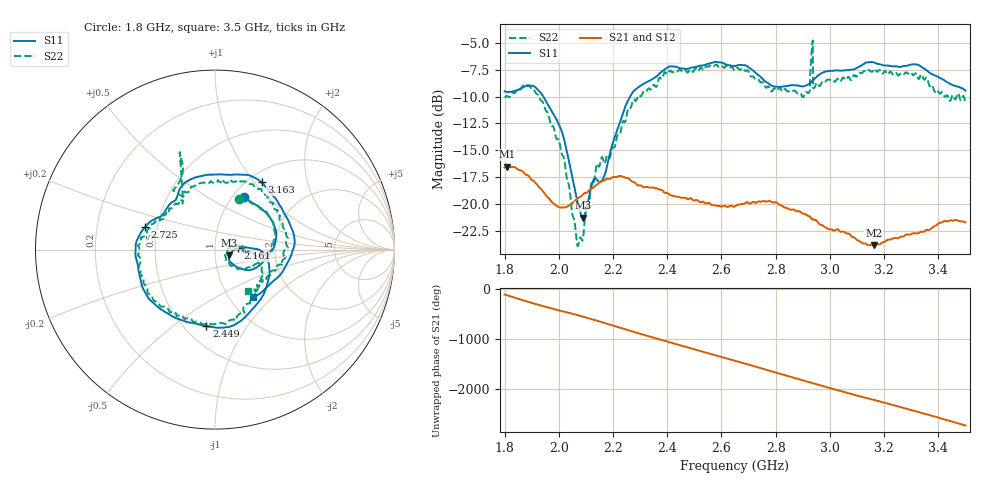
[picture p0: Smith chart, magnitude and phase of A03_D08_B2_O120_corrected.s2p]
! Created with skrf 1.9.0 (http://scikit-rf.org).
# Hz S RI R 50.0
!freq ReS11 ImS11 ReS21 ImS21 ReS12 ImS12 ReS22 ImS22
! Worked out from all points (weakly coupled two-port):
!   1601 points, 1.8 GHz to 3.5 GHz, reference 50 ohm
!   highest |S21| = -16.52 dB at 1.811 GHz (marker M1); lowest = -23.9 dB at 3.162 GHz (marker M2)
!   lowest |S11| = -21.3 dB at 2.09 GHz (marker M3), VSWR 1.19, Z = 58.6 - j3.79 ohm
!   |S11| at or under -10 dB: 1.943 GHz to 2.263 GHz (320 MHz wide, 15.2 % of centre)
!   |S22| runs from -23.9 to -4.8 dB; largest |S21 - S12| = 0.003
!   S11 on the Smith chart (normalised r, x): 1.8 GHz: 1.12, +0.74; 2.161 GHz: 1.30, +0.02; 2.449 GHz: 0.64, -0.67; 2.725 GHz: 0.43, +0.13; 3.163 GHz: 1.15, +1.09; 3.5 GHz: 1.28, -0.76
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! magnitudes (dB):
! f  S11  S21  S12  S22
! 1.8 GHz  -9.5  -16.6  -16.6  -10.1
! 1.811 GHz  -9.6  -16.5  -16.5  -10.0
! 1.887 GHz  -9.0  -17.4  -17.4  -8.9
! 1.94 GHz  -9.9  -18.8  -18.8  -10.5
! 2.013 GHz  -13.4  -20.3  -20.4  -15.5
! 2.066 GHz  -19.4  -19.6  -19.6  -23.5
! 2.084 GHz  -21.1  -19.3  -19.2  -23.3
! 2.09 GHz  -21.3  -19.1  -19.1  -23.1
! 2.128 GHz  -17.8  -18.5  -18.5  -18.0
! 2.161 GHz  -17.8  -17.9  -17.8  -15.7
! 2.26 GHz  -10.1  -17.7  -17.7  -11.0
! 2.367 GHz  -8.0  -18.6  -18.6  -8.5
! 2.449 GHz  -7.4  -19.4  -19.4  -7.5
! 2.65 GHz  -7.1  -20.2  -20.2  -7.6
! 2.725 GHz  -7.8  -19.9  -19.9  -8.4
! 2.901 GHz  -9.1  -20.9  -20.9  -10.1
! 2.934 GHz  -8.6  -21.4  -21.4  -5.5
! 2.946 GHz  -8.3  -21.5  -21.6  -9.0
! 3.162 GHz  -6.8  -23.9  -23.8  -7.4
! 3.163 GHz  -6.8  -23.9  -23.9  -7.4
! 3.217 GHz  -7.1  -23.3  -23.3  -7.8
! 3.5 GHz  -9.5  -21.7  -21.7  -10.6
